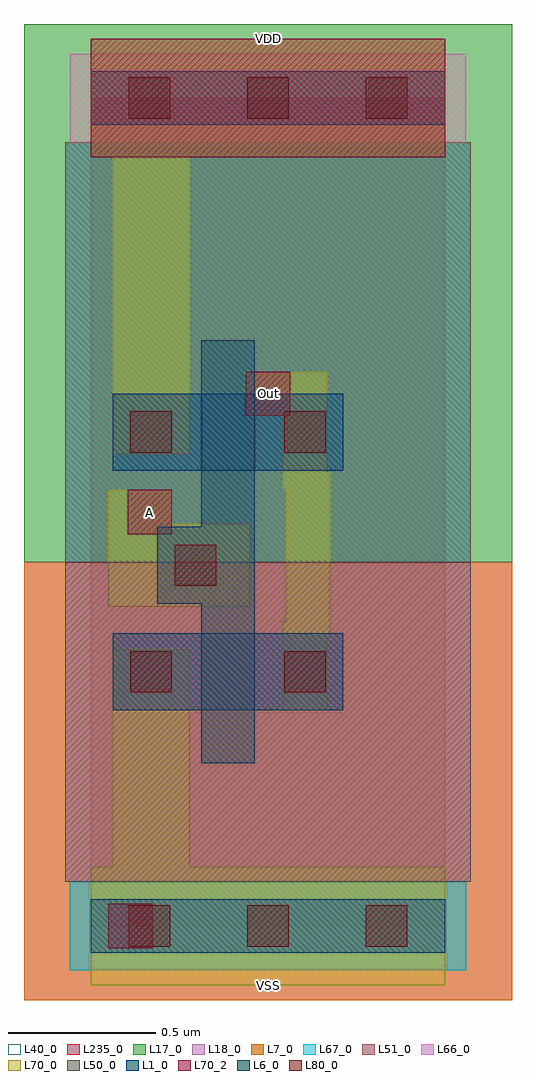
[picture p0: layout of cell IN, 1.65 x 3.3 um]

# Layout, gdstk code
import gdstk
lib = gdstk.Library(unit=1e-6, precision=1e-09)
def R(c, l, rs):  # rectangles x0, y0, x1, y1
    for r in rs: c.add(gdstk.rectangle(r[:2], r[2:], *l))
def A(c, l, x, y, w, h, nx, ny, dx, dy):  # array of equal rectangles
    R(c, l, [(x+i*dx, y+j*dy, x+i*dx+w, y+j*dy+h) for i in range(nx) for j in range(ny)])
def P(c, l, *ps):  # polygons
    for p in ps: c.add(gdstk.Polygon(p, *l))
L1_0 = (1, 0)
L6_0 = (6, 0)
L7_0 = (7, 0)
L17_0 = (17, 0)
L18_0 = (18, 0)
L40_0 = (40, 0)
L50_0 = (50, 0)
L51_0 = (51, 0)
L66_0 = (66, 0)
L67_0 = (67, 0)
L70_0 = (70, 0)
L70_2 = (70, 2)
L80_0 = (80, 0)
L235_0 = (235, 0)

c_in = lib.new_cell('IN')
R(c_in, L1_0, [(0,-0.09,1.2,0.09), (0.075,0.73,0.855,0.99), (0.075,1.54,0.855,1.8), (0,2.71,1.2,2.89)])
P(c_in, L6_0, [(0.555,1.98),(0.375,1.98),(0.375,1.35),(0.225,1.35),(0.225,1.09),(0.375,1.09),(0.375,0.55),(0.555,0.55)])
R(c_in, L7_0, [(-0.225,-0.25,1.425,1.23)])
R(c_in, L17_0, [(-0.225,1.23,1.425,3.05)])
R(c_in, L18_0, [(-0.225,-0.25,1.425,1.23)])
R(c_in, L40_0, [(-0.225,-0.25,1.425,1.23), (-0.225,1.23,1.425,3.05)])
R(c_in, L50_0, [(-0.085,0.15,1.285,1.23)])
R(c_in, L51_0, [(-0.085,1.23,1.285,2.65)])
R(c_in, L66_0, [(-0.085,0.15,1.285,1.23), (-0.07,2.65,1.27,2.95)])
R(c_in, L67_0, [(-0.07,-0.15,1.27,0.15), (-0.085,1.23,1.285,2.65)])
P(c_in, L70_0, [(1.2,0.2),(0.335,0.2),(0.335,0.935),(0.075,0.935),(0.075,0.2),(0,0.2),(0,-0.2),(1.2,-0.2)],
  [(0.54,1.36),(0.275,1.36),(0.275,1.475),(0.06,1.475),(0.06,1.08),(0.54,1.08)],
  [(0.81,1.535),(0.8,1.535),(0.8,1.875),(0.525,1.875),(0.525,1.725),(0.65,1.725),(0.65,1.48),(0.66,1.48),(0.66,1.03),(0.65,1.03),(0.65,0.73),(0.8,0.73),(0.8,0.975),(0.81,0.975)],
  [(1.2,3),(0,3),(0,2.6),(0.075,2.6),(0.075,1.595),(0.335,1.595),(0.335,2.6),(1.2,2.6)])
R(c_in, L70_2, [(0.06,-0.075,0.21,0.075), (0.125,1.325,0.275,1.475), (0.525,1.725,0.675,1.875), (0,2.6,1.2,3)])
A(c_in, L80_0, 0.13, -0.07, 0.14, 0.14, 3, 2, 0.4, 2.8)
R(c_in, L80_0, [(0.135,0.79,0.275,0.93), (0.655,0.79,0.795,0.93), (0.285,1.15,0.425,1.29), (0.135,1.6,0.275,1.74), (0.655,1.6,0.795,1.74)])
R(c_in, L235_0, [(0,0,1.2,2.8)])
c_in.add(gdstk.Label('VDD', (0.6,3), layer=70, texttype=2))
c_in.add(gdstk.Label('VSS', (0.6,-0.2), layer=70, texttype=2))
c_in.add(gdstk.Label('A', (0.2,1.4), layer=70, texttype=2))
c_in.add(gdstk.Label('Out', (0.6,1.8), layer=70, texttype=2))

lib.write_gds('IN.gds')
